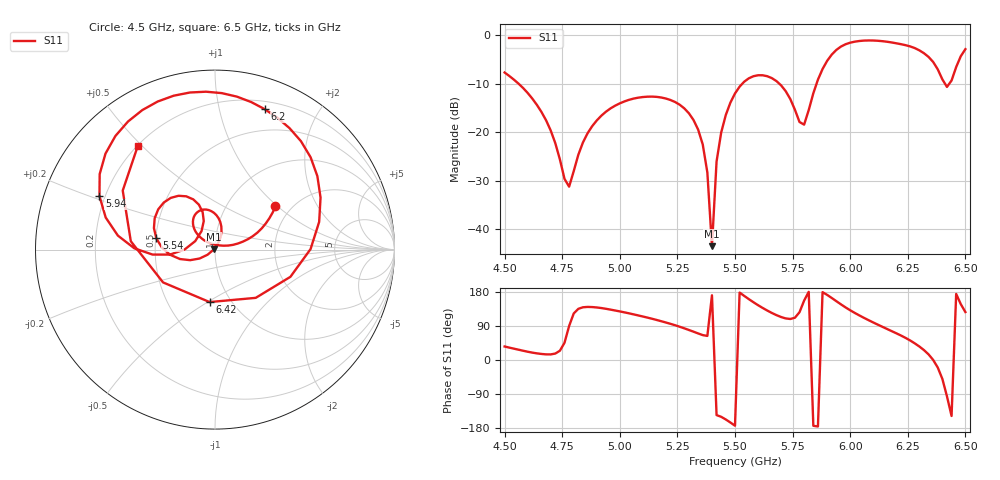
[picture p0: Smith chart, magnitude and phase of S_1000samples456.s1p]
! TOUCHSTONE file generated by CST MICROWAVE STUDIO
! Date and time: Fri Oct 28 05:46:35 2022
! Project name: L.cst
! Parameters = {Di=1.27; Epsilon_r=1.56; InnerDiameter=1.27; Length=2; Lf=10; Lg=60; OuterConductorThickness=0.2921; OuterDiameter=3.6; Wf=3; Wp=41.2; de=1.5; df=6.8; g=0.8; gx=1.42564; gy=1.74991; h=2.34; hf=1.524; px=13.2771; py=8.21493; w=9.7; wx=11.8514; wy=6.46502}
! Header version: 2018
! Port assignment regex: !\s*Touchstone port\s*([0-9]+)\s*=\s*(CST MWS port|CST DS port)\s*([0-9]+|Zmin|Zmax)\s*\(\"(.*)\"\)(\s*mode\s*([0-9]+))?.*
! Touchstone port assignment:
! Touchstone port 1 = CST MWS port 1 ("")
# GHz S DB R 50
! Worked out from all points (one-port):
!   101 points, 4.5 GHz to 6.5 GHz, reference 50 ohm
!   lowest |S11| = -43.6 dB at 5.4 GHz (marker M1), VSWR 1.01, Z = 49.3 + j0.105 ohm
!   |S11| at or under -10 dB: 4.561 GHz to 5.531 GHz (970.1 MHz wide, 19.2 % of centre); 5.693 GHz to 5.854 GHz (161 MHz wide, 2.79 % of centre); 6.41185 GHz to 6.429615 GHz (17.77 MHz wide, 0.277 % of centre)
!   S11 on the Smith chart (normalised r, x): 4.5 GHz: 1.66, +0.97; 5.54 GHz: 0.50, +0.07; 5.94 GHz: 0.18, +0.21; 6.2 GHz: 0.27, +1.38; 6.42 GHz: 0.80, -0.51; 6.5 GHz: 0.20, +0.49
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4.5  -7.66 35.6
4.66  -15.82 16.0
4.72  -22.26 17.0
4.76  -29.64 45.5
4.78  -31.25 89.7
4.88  -18.76 139.7
5  -14.04 128.2
5.26  -14.32 87.7
5.36  -22.53 65.7
5.38  -28.32 63.5
5.4  -43.56 170.8
5.42  -26.05 -145.4
5.46  -16.44 -157.0
5.5  -11.99 -173.4
5.54  -9.56 169.2
5.66  -8.82 124.1
5.76  -15.35 111.5
5.8  -18.43 156.7
5.88  -6.94 179.1
5.94  -2.98 155.2
6  -1.50 131.2
6.1  -1.05 99.1
6.2  -1.62 70.5
6.26  -2.26 51.6
6.36  -5.48 0.3
6.42  -10.64 -95.9
6.46  -6.53 174.3
6.5  -2.84 126.5
